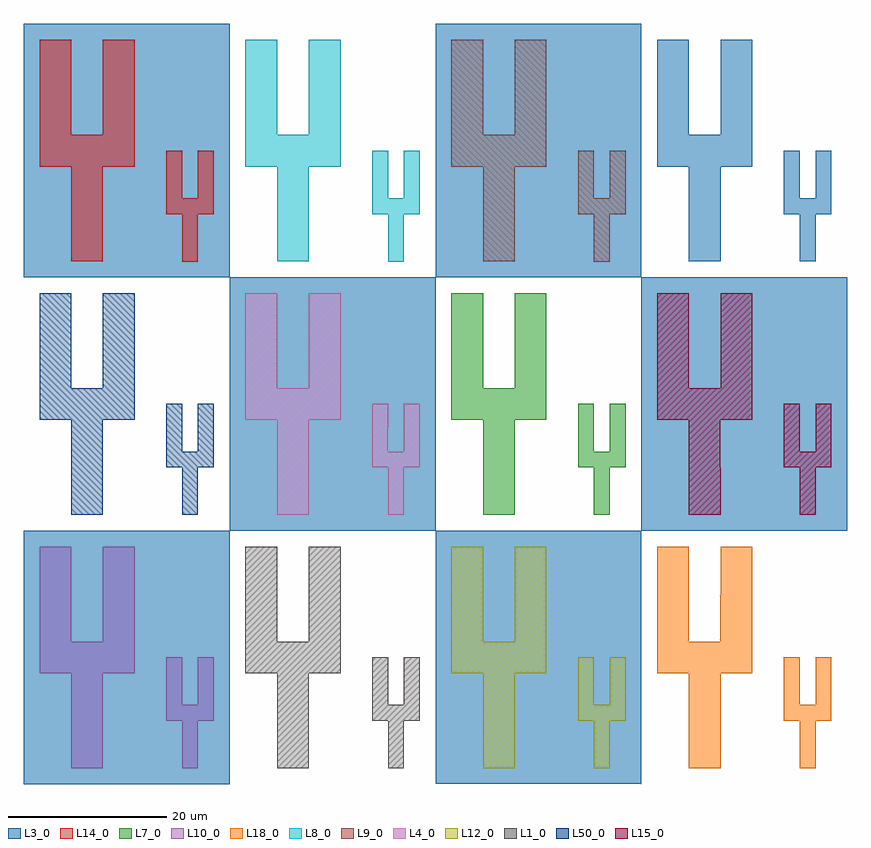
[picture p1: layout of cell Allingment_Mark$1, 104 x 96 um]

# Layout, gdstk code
import gdstk
lib = gdstk.Library(unit=1e-6, precision=1e-09)
def R(c, l, rs):  # rectangles x0, y0, x1, y1
    for r in rs: c.add(gdstk.rectangle(r[:2], r[2:], *l))
def P(c, l, *ps):  # polygons
    for p in ps: c.add(gdstk.Polygon(p, *l))
L1_0 = (1, 0)
L3_0 = (3, 0)
L4_0 = (4, 0)
L7_0 = (7, 0)
L8_0 = (8, 0)
L9_0 = (9, 0)
L10_0 = (10, 0)
L12_0 = (12, 0)
L14_0 = (14, 0)
L15_0 = (15, 0)
L18_0 = (18, 0)
L50_0 = (50, 0)

allingment_mark_1 = lib.new_cell('Allingment_Mark$1')
P(allingment_mark_1, L1_0, [(431.743,111.456),(431.743,123.456),(427.743,123.457),(427.743,139.456),(431.743,139.456),(431.742,127.456),(435.743,127.456),(435.743,139.456),(439.743,139.456),(439.743,123.456),(435.743,123.456),(435.743,111.456)],
  [(445.743,111.456),(445.743,117.456),(443.743,117.456),(443.743,125.456),(445.743,125.456),(445.743,119.456),(447.743,119.456),(447.743,125.456),(449.743,125.456),(449.743,117.456),(447.743,117.456),(447.743,111.456)])
R(allingment_mark_1, L3_0, [(399.743,173.456,425.743,205.456), (495.743,181.456,497.743,189.456)])
P(allingment_mark_1, L3_0, [(451.743,173.455),(451.743,205.456),(477.743,205.456),(477.743,173.456)],
  [(483.743,187.455),(479.743,187.456),(479.743,203.457),(483.743,203.456)],
  [(487.743,187.456),(487.743,203.457),(491.743,203.456),(491.743,187.456)],
  [(483.743,175.456),(483.743,191.456),(487.743,191.456),(487.743,175.457)],
  [(499.743,181.456),(499.743,189.456),(501.743,189.457),(501.743,181.456)],
  [(499.743,175.456),(497.743,175.457),(497.742,183.456),(499.743,183.456)],
  [(425.743,141.456),(425.743,173.456),(451.743,173.455),(451.743,141.456)],
  [(477.743,141.456),(477.743,173.456),(503.743,173.456),(503.744,141.456)],
  [(399.743,109.456),(399.742,141.456),(425.743,141.456),(425.743,109.456)],
  [(477.743,109.456),(451.743,109.457),(451.743,141.456),(477.743,141.456)])
P(allingment_mark_1, L4_0, [(431.743,143.456),(431.742,155.456),(427.743,155.456),(427.743,171.456),(431.743,171.456),(431.743,159.456),(435.743,159.456),(435.743,171.456),(439.743,171.456),(439.743,155.456),(435.743,155.456),(435.743,143.456)],
  [(445.743,143.456),(445.743,149.456),(443.743,149.456),(443.743,157.456),(445.743,157.456),(445.742,151.456),(447.744,151.456),(447.743,157.456),(449.743,157.456),(449.743,149.456),(447.743,149.456),(447.743,143.456)])
P(allingment_mark_1, L7_0, [(457.743,143.456),(457.743,155.456),(453.743,155.456),(453.743,171.456),(457.743,171.456),(457.743,159.456),(461.743,159.456),(461.743,171.456),(465.743,171.456),(465.743,155.456),(461.744,155.456),(461.743,143.456)],
  [(471.743,143.456),(471.743,149.456),(469.743,149.456),(469.743,157.456),(471.743,157.456),(471.743,151.456),(473.742,151.456),(473.743,157.456),(475.743,157.456),(475.743,149.456),(473.743,149.456),(473.743,143.456)])
P(allingment_mark_1, L8_0, [(435.743,175.456),(431.743,175.457),(431.743,187.456),(427.743,187.455),(427.743,203.456),(431.743,203.457),(431.743,191.456),(435.743,191.456),(435.743,203.456),(439.743,203.456),(439.743,187.456),(435.743,187.456)],
  [(445.743,175.456),(445.743,181.456),(443.743,181.456),(443.743,189.456),(445.743,189.457),(445.743,183.456),(447.743,183.456),(447.743,189.457),(449.743,189.456),(449.743,181.456),(447.743,181.456),(447.743,175.456)])
P(allingment_mark_1, L9_0, [(457.743,175.456),(457.743,187.456),(453.743,187.456),(453.743,203.456),(457.743,203.456),(457.743,191.456),(461.743,191.456),(461.743,203.457),(465.743,203.456),(465.743,187.455),(461.743,187.456),(461.743,175.457)],
  [(471.743,175.456),(471.743,181.456),(469.743,181.456),(469.743,189.456),(471.743,189.456),(471.743,183.456),(473.743,183.456),(473.743,189.457),(475.743,189.457),(475.743,181.456),(473.743,181.456),(473.743,175.456)])
P(allingment_mark_1, L10_0, [(405.743,111.456),(405.743,123.456),(401.743,123.456),(401.743,139.456),(405.743,139.456),(405.744,127.456),(409.743,127.456),(409.743,139.456),(413.743,139.456),(413.743,123.456),(409.743,123.457),(409.743,111.456)],
  [(419.743,111.456),(419.743,117.456),(417.743,117.456),(417.743,125.456),(419.743,125.456),(419.743,119.456),(421.743,119.456),(421.743,125.456),(423.743,125.456),(423.743,117.455),(421.743,117.456),(421.743,111.456)])
P(allingment_mark_1, L12_0, [(457.743,111.456),(457.743,123.456),(453.743,123.456),(453.743,139.456),(457.743,139.456),(457.743,127.456),(461.744,127.456),(461.743,139.456),(465.743,139.456),(465.743,123.457),(461.743,123.456),(461.743,111.456)],
  [(471.743,111.456),(471.743,117.456),(469.743,117.455),(469.743,125.456),(471.743,125.456),(471.743,119.456),(473.743,119.456),(473.743,125.456),(475.743,125.456),(475.743,117.456),(473.743,117.456),(473.743,111.456)])
P(allingment_mark_1, L14_0, [(409.743,175.456),(405.743,175.457),(405.743,187.456),(401.743,187.456),(401.743,203.456),(405.744,203.456),(405.743,191.456),(409.743,191.456),(409.743,203.456),(413.743,203.457),(413.743,187.456),(409.743,187.455)],
  [(419.743,175.456),(419.743,181.456),(417.743,181.456),(417.743,189.457),(419.743,189.457),(419.743,183.456),(421.743,183.456),(421.743,189.456),(423.743,189.456),(423.743,181.456),(421.743,181.456),(421.743,175.456)])
P(allingment_mark_1, L15_0, [(483.743,143.456),(483.743,155.456),(479.744,155.456),(479.743,171.456),(483.743,171.456),(483.743,159.455),(487.743,159.456),(487.743,171.456),(491.743,171.456),(491.743,155.456),(487.742,155.456),(487.743,143.456)],
  [(497.743,143.456),(497.743,149.456),(495.743,149.456),(495.743,157.456),(497.743,157.456),(497.743,151.456),(499.743,151.456),(499.743,157.456),(501.743,157.456),(501.743,149.456),(499.743,149.456),(499.743,143.456)])
P(allingment_mark_1, L18_0, [(483.743,111.456),(483.743,123.457),(479.743,123.456),(479.743,139.456),(483.743,139.456),(483.743,127.456),(487.742,127.456),(487.743,139.456),(491.743,139.456),(491.743,123.456),(487.743,123.456),(487.743,111.456)],
  [(497.743,111.456),(497.743,117.455),(495.743,117.456),(495.743,125.456),(497.743,125.456),(497.743,119.456),(499.743,119.456),(499.743,125.456),(501.743,125.456),(501.743,117.456),(499.743,117.456),(499.743,111.456)])
P(allingment_mark_1, L50_0, [(405.743,143.456),(405.744,155.456),(401.743,155.456),(401.743,171.456),(405.743,171.456),(405.743,159.456),(409.743,159.455),(409.743,171.456),(413.743,171.456),(413.742,155.456),(409.743,155.456),(409.743,143.456)],
  [(419.743,143.456),(419.743,149.456),(417.743,149.456),(417.743,157.456),(419.743,157.456),(419.744,151.456),(421.743,151.456),(421.743,157.456),(423.743,157.456),(423.743,149.456),(421.743,149.456),(421.743,143.456)])

lib.write_gds('Allingment_Mark_1.gds')
